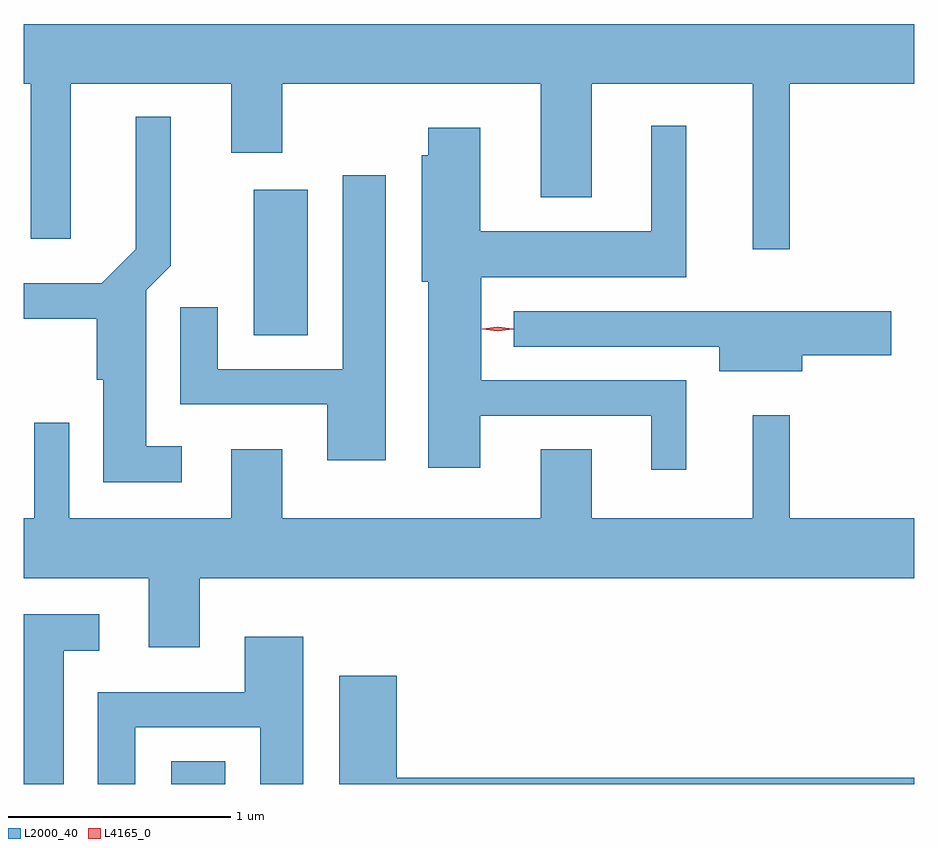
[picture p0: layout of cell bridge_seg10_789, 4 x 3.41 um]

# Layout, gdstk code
import gdstk
lib = gdstk.Library(unit=1e-6, precision=1e-09)
def R(c, l, rs):  # rectangles x0, y0, x1, y1
    for r in rs: c.add(gdstk.rectangle(r[:2], r[2:], *l))
def P(c, l, *ps):  # polygons
    for p in ps: c.add(gdstk.Polygon(p, *l))
L2000_40 = (2000, 40)
L4165_0 = (4165, 0)

bridge_seg10_789 = lib.new_cell('bridge_seg10_789')
R(bridge_seg10_789, L2000_40, [(202.671,2204.012,202.914,2204.114), (203.041,2206.026,203.284,2206.679)])
P(bridge_seg10_789, L2000_40, [(205.449,2207.156),(206.008,2207.156),(206.008,2207.424),(202.008,2207.424),(202.008,2207.156),(202.041,2207.156),(202.041,2206.461),(202.219,2206.461),(202.219,2207.156),(202.941,2207.156),(202.941,2206.846),(203.169,2206.846),(203.169,2207.156),(204.331,2207.156),(204.331,2206.646),(204.559,2206.646),(204.559,2207.156),(205.281,2207.156),(205.281,2206.413),(205.449,2206.413)],
  [(202.718,2205.529),(202.559,2205.529),(202.559,2206.229),(202.669,2206.339),(202.669,2207.008),(202.511,2207.008),(202.511,2206.412),(202.359,2206.259),(202.008,2206.259),(202.008,2206.101),(202.336,2206.101),(202.336,2205.826),(202.366,2205.826),(202.366,2205.366),(202.718,2205.366)],
  [(204.984,2205.824),(204.064,2205.824),(204.064,2206.286),(204.984,2206.286),(204.984,2206.968),(204.826,2206.968),(204.826,2206.494),(204.059,2206.494),(204.059,2206.959),(203.826,2206.959),(203.826,2206.834),(203.796,2206.834),(203.796,2206.266),(203.826,2206.266),(203.826,2205.431),(204.059,2205.431),(204.059,2205.666),(204.826,2205.666),(204.826,2205.423),(204.984,2205.423)],
  [(203.634,2206.744),(203.441,2206.744),(203.441,2205.874),(202.879,2205.874),(202.879,2206.153),(202.711,2206.153),(202.711,2205.716),(203.371,2205.716),(203.371,2205.466),(203.634,2205.466)],
  [(205.504,2205.936),(205.904,2205.936),(205.904,2206.134),(204.208,2206.134),(204.208,2205.976),(205.131,2205.976),(205.131,2205.866),(205.504,2205.866)],
  [(202.799,2204.936),(206.008,2204.936),(206.008,2205.204),(205.449,2205.204),(205.449,2205.668),(205.281,2205.668),(205.281,2205.204),(204.559,2205.204),(204.559,2205.514),(204.331,2205.514),(204.331,2205.204),(203.169,2205.204),(203.169,2205.514),(202.941,2205.514),(202.941,2205.204),(202.214,2205.204),(202.214,2205.633),(202.056,2205.633),(202.056,2205.204),(202.008,2205.204),(202.008,2204.936),(202.571,2204.936),(202.571,2204.626),(202.799,2204.626)],
  [(202.189,2204.611),(202.348,2204.611),(202.348,2204.774),(202.008,2204.774),(202.008,2204.012),(202.189,2204.012)],
  [(202.509,2204.266),(203.071,2204.266),(203.071,2204.012),(203.264,2204.012),(203.264,2204.674),(203.001,2204.674),(203.001,2204.424),(202.341,2204.424),(202.341,2204.012),(202.509,2204.012)],
  [(206.008,2204.039),(203.684,2204.039),(203.684,2204.499),(203.426,2204.499),(203.426,2204.012),(206.008,2204.012)])
P(bridge_seg10_789, L4165_0, [(204.137,2206.044),(204.067,2206.054),(204.067,2206.054),(204.067,2206.055),(204.137,2206.064),(204.206,2206.055),(204.206,2206.054),(204.206,2206.054)],
  [(204.136,2206.044),(204.07,2206.053),(204.069,2206.053),(204.07,2206.054),(204.136,2206.064),(204.202,2206.054),(204.203,2206.053),(204.202,2206.053)])

lib.write_gds('bridge_seg10_789.gds')
